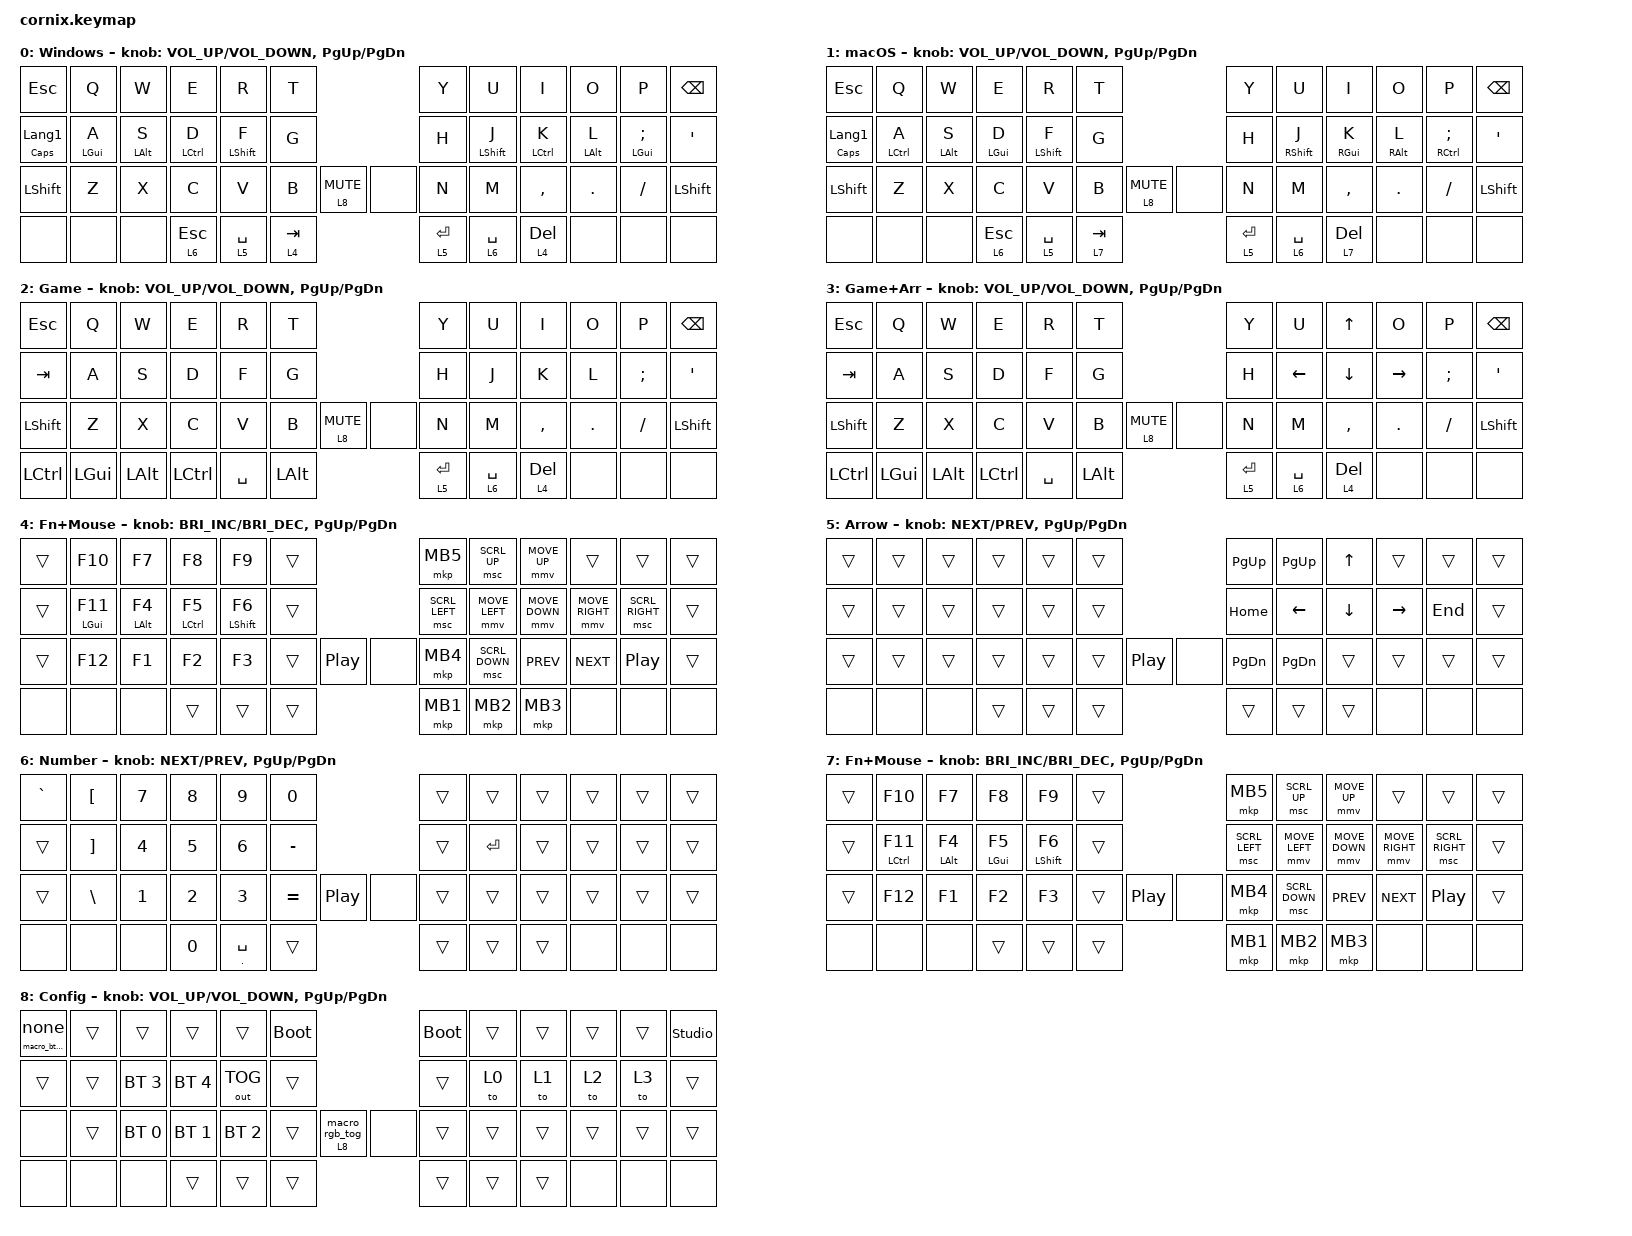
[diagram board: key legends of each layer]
#define ZMK_POINTING_DEFAULT_MOVE_VAL 1800
#define ZMK_POINTING_DEFAULT_SCRL_VAL 30

#include <zephyr/dt-bindings/input/input-event-codes.h>
#include <behaviors.dtsi>
#include <dt-bindings/zmk/bt.h>
#include <dt-bindings/zmk/keys.h>
#include <dt-bindings/zmk/outputs.h>
#include <dt-bindings/zmk/pointing.h>

/ {
    behaviors {
        caps_fn: caps_fn {
            compatible = "zmk,behavior-hold-tap";
            bindings = <&kp>, <&kp>;

            #binding-cells = <2>;
            tapping-term-ms = <600>;
            flavor = "tap-preferred";
        };

        homerow: homerow {
            compatible = "zmk,behavior-hold-tap";
            bindings = <&kp>, <&kp>;

            #binding-cells = <2>;
            tapping-term-ms = <200>;
            flavor = "tap-preferred";
            quick-tap-ms = <300>;
        };

        space_period: space_period {
            compatible = "zmk,behavior-hold-tap";
            bindings = <&kp>, <&kp>;

            #binding-cells = <2>;
            flavor = "tap-preferred";
            tapping-term-ms = <200>;
        };

        thumb: thumb {
            compatible = "zmk,behavior-hold-tap";
            bindings = <&mo>, <&kp>;

            #binding-cells = <2>;
            tapping-term-ms = <200>;
            flavor = "balanced";
            quick-tap-ms = <150>;
        };

        sft: sft {
            compatible = "zmk,behavior-hold-tap";
            bindings = <&kp>, <&sk>;

            #binding-cells = <2>;
            tapping-term-ms = <200>;
        };

        long_bt_clr: long_bt_clr {
            compatible = "zmk,behavior-hold-tap";
            bindings = <&macro_bt_clr>, <&none>;

            #binding-cells = <2>;
            tapping-term-ms = <1000>;
        };

        tog_conf: tog_conf {
            compatible = "zmk,behavior-hold-tap";
            bindings = <&tog>, <&kp>;

            #binding-cells = <2>;
            tapping-term-ms = <500>;
        };

        tog_conf2: tog_conf2 {
            compatible = "zmk,behavior-hold-tap";
            bindings = <&tog>, <&macro_rgb_tog>;

            #binding-cells = <2>;
            tapping-term-ms = <500>;
        };
    };

    combos {
        compatible = "zmk,combos";

        cut_M {
            bindings = <&kp LG(X)>;
            key-positions = <25 26>;
            timeout-ms = <100>;
            layers = <1>;
        };

        copy_M {
            bindings = <&kp LG(C)>;
            key-positions = <26 27>;
            layers = <1>;
            timeout-ms = <100>;
        };

        paste_M {
            bindings = <&kp LG(V)>;
            key-positions = <27 28>;
            timeout-ms = <100>;
            layers = <1>;
        };

        cut_W {
            bindings = <&kp LC(X)>;
            key-positions = <25 26>;
            timeout-ms = <100>;
            layers = <0>;
        };

        copy_W {
            bindings = <&kp LC(C)>;
            key-positions = <26 27>;
            layers = <0>;
            timeout-ms = <100>;
        };

        paste_W {
            bindings = <&kp LC(V)>;
            key-positions = <27 28>;
            timeout-ms = <100>;
            layers = <0>;
        };
    };

    macros {
        macro_bt_clr: macro_bt_clr {
            compatible = "zmk,behavior-macro";
            #binding-cells = <0>;
            bindings = <&bt BT_CLR>;
        };

        /* Cornix uses its stock indicator implementation, not Corne underglow. */

        macro_rgb_tog: macro_rgb_tog {
            compatible = "zmk,behavior-macro";
            #binding-cells = <0>;
            bindings = <&none>;
        };
    };

    keymap {
        compatible = "zmk,keymap";

        windows_layer {
            display-name = "Windows";
            bindings = <
&kp ESCAPE                    &kp Q                &kp W                &kp E                    &kp R                  &kp T                                    &kp Y           &kp U                  &kp I                    &kp O                &kp P                        &kp BSPC
&caps_fn CAPSLOCK LANGUAGE_1  &homerow LEFT_GUI A  &homerow LEFT_ALT S  &homerow LEFT_CONTROL D  &homerow LEFT_SHIFT F  &kp G                                    &kp H           &homerow LEFT_SHIFT J  &homerow LEFT_CONTROL K  &homerow LEFT_ALT L  &homerow LEFT_GUI SEMICOLON  &kp SQT
&kp LSHIFT                    &kp Z                &kp X                &kp C                    &kp V                  &kp B         &tog_conf 8 C_MUTE  &none  &kp N           &kp M                  &kp COMMA                &kp DOT              &kp FSLH                     &kp LSHIFT
&none                         &none                &none                &thumb 6 ESCAPE          &thumb 5 SPACE         &thumb 4 TAB                             &thumb 5 ENTER  &thumb 6 SPACE         &thumb 4 DELETE          &none                &none                        &none
            >;

            sensor-bindings = <&inc_dec_kp C_VOLUME_UP C_VOLUME_DOWN &inc_dec_kp PG_UP PG_DN>;
        };

        macos_layer {
            display-name = "macOS";
            bindings = <
&kp ESCAPE                    &kp Q                    &kp W                &kp E                &kp R                  &kp T                                    &kp Y           &kp U                   &kp I                 &kp O                 &kp P                             &kp BSPC
&caps_fn CAPSLOCK LANGUAGE_1  &homerow LEFT_CONTROL A  &homerow LEFT_ALT S  &homerow LEFT_GUI D  &homerow LEFT_SHIFT F  &kp G                                    &kp H           &homerow RIGHT_SHIFT J  &homerow RIGHT_GUI K  &homerow RIGHT_ALT L  &homerow RIGHT_CONTROL SEMICOLON  &kp SQT
&kp LSHIFT                    &kp Z                    &kp X                &kp C                &kp V                  &kp B         &tog_conf 8 C_MUTE  &none  &kp N           &kp M                   &kp COMMA             &kp DOT               &kp FSLH                          &kp LSHIFT
&none                         &none                    &none                &thumb 6 ESCAPE      &thumb 5 SPACE         &thumb 7 TAB                             &thumb 5 ENTER  &thumb 6 SPACE          &thumb 7 DEL          &none                 &none                             &none
            >;

            sensor-bindings = <&inc_dec_kp C_VOLUME_UP C_VOLUME_DOWN &inc_dec_kp PG_UP PG_DN>;
        };

        gaming_layer {
            display-name = "Game";
            bindings = <
&kp ESCAPE  &kp Q     &kp W     &kp E      &kp R      &kp T                                &kp Y           &kp U           &kp I            &kp O    &kp P          &kp BSPC
&kp TAB     &kp A     &kp S     &kp D      &kp F      &kp G                                &kp H           &kp J           &kp K            &kp L    &kp SEMICOLON  &kp SQT
&kp LSHIFT  &kp Z     &kp X     &kp C      &kp V      &kp B     &tog_conf 8 C_MUTE  &none  &kp N           &kp M           &kp COMMA        &kp DOT  &kp FSLH       &kp LSHIFT
&kp LCTRL   &kp LGUI  &kp LALT  &kp LCTRL  &kp SPACE  &kp LALT                             &thumb 5 ENTER  &thumb 6 SPACE  &thumb 4 DELETE  &none    &none          &none
            >;

            sensor-bindings = <&inc_dec_kp C_VOLUME_UP C_VOLUME_DOWN &inc_dec_kp PG_UP PG_DN>;
        };

        gaming_layer2 {
            display-name = "Game+Arr";
            bindings = <
&kp ESCAPE  &kp Q     &kp W     &kp E      &kp R      &kp T                                &kp Y           &kp U           &kp UP           &kp O      &kp P          &kp BSPC
&kp TAB     &kp A     &kp S     &kp D      &kp F      &kp G                                &kp H           &kp LEFT        &kp DOWN         &kp RIGHT  &kp SEMICOLON  &kp SQT
&kp LSHIFT  &kp Z     &kp X     &kp C      &kp V      &kp B     &tog_conf 8 C_MUTE  &none  &kp N           &kp M           &kp COMMA        &kp DOT    &kp FSLH       &kp LSHIFT
&kp LCTRL   &kp LGUI  &kp LALT  &kp LCTRL  &kp SPACE  &kp LALT                             &thumb 5 ENTER  &thumb 6 SPACE  &thumb 4 DELETE  &none      &none          &none
            >;

            sensor-bindings = <&inc_dec_kp C_VOLUME_UP C_VOLUME_DOWN &inc_dec_kp PG_UP PG_DN>;
        };

        fn_ms_layer {
            display-name = "Fn+Mouse";
            bindings = <
&trans  &kp F10                &kp F7                &kp F8                    &kp F9                  &trans                   &mkp MB5        &msc SCRL_UP    &mmv MOVE_UP    &trans           &trans           &trans
&trans  &homerow LEFT_GUI F11  &homerow LEFT_ALT F4  &homerow LEFT_CONTROL F5  &homerow LEFT_SHIFT F6  &trans                   &msc SCRL_LEFT  &mmv MOVE_LEFT  &mmv MOVE_DOWN  &mmv MOVE_RIGHT  &msc SCRL_RIGHT  &trans
&trans  &kp F12                &kp F1                &kp F2                    &kp F3                  &trans  &kp C_PP  &none  &mkp MB4        &msc SCRL_DOWN  &kp C_PREV      &kp C_NEXT       &kp C_PP         &trans
&none   &none                  &none                 &trans                    &trans                  &trans                   &mkp MB1        &mkp MB2        &mkp MB3        &none            &none            &none
            >;

            sensor-bindings = <&inc_dec_kp C_BRIGHTNESS_INC C_BRIGHTNESS_DEC &inc_dec_kp PG_UP PG_DN>;
        };

        arrow_layer {
            display-name = "Arrow";
            bindings = <
&trans  &trans  &trans  &trans  &trans  &trans                   &kp PG_UP  &kp PG_UP  &kp UP    &trans     &trans   &trans
&trans  &trans  &trans  &trans  &trans  &trans                   &kp HOME   &kp LEFT   &kp DOWN  &kp RIGHT  &kp END  &trans
&trans  &trans  &trans  &trans  &trans  &trans  &kp C_PP  &none  &kp PG_DN  &kp PG_DN  &trans    &trans     &trans   &trans
&none   &none   &none   &trans  &trans  &trans                   &trans     &trans     &trans    &none      &none    &none
            >;

            sensor-bindings = <&inc_dec_kp C_NEXT C_PREV &inc_dec_kp PG_UP PG_DN>;
        };

        num_layer {
            display-name = "Number";
            bindings = <
&kp GRAVE  &kp LBKT  &kp N7  &kp N8  &kp N9                   &kp N0                      &trans  &trans     &trans  &trans  &trans  &trans
&trans     &kp RBKT  &kp N4  &kp N5  &kp N6                   &kp MINUS                   &trans  &kp ENTER  &trans  &trans  &trans  &trans
&trans     &kp BSLH  &kp N1  &kp N2  &kp N3                   &kp EQUAL  &kp C_PP  &none  &trans  &trans     &trans  &trans  &trans  &trans
&none      &none     &none   &kp N0  &space_period DOT SPACE  &trans                      &trans  &trans     &trans  &none   &none   &none
            >;

            sensor-bindings = <&inc_dec_kp C_NEXT C_PREV &inc_dec_kp PG_UP PG_DN>;
        };

        fn_ms_mac_layer {
            display-name = "Fn+Mouse";
            bindings = <
&trans  &kp F10                    &kp F7                &kp F8                &kp F9                  &trans                   &mkp MB5        &msc SCRL_UP    &mmv MOVE_UP    &trans           &trans           &trans
&trans  &homerow LEFT_CONTROL F11  &homerow LEFT_ALT F4  &homerow LEFT_GUI F5  &homerow LEFT_SHIFT F6  &trans                   &msc SCRL_LEFT  &mmv MOVE_LEFT  &mmv MOVE_DOWN  &mmv MOVE_RIGHT  &msc SCRL_RIGHT  &trans
&trans  &kp F12                    &kp F1                &kp F2                &kp F3                  &trans  &kp C_PP  &none  &mkp MB4        &msc SCRL_DOWN  &kp C_PREV      &kp C_NEXT       &kp C_PP         &trans
&none   &none                      &none                 &trans                &trans                  &trans                   &mkp MB1        &mkp MB2        &mkp MB3        &none            &none            &none
            >;

            sensor-bindings = <&inc_dec_kp C_BRIGHTNESS_INC C_BRIGHTNESS_DEC &inc_dec_kp PG_UP PG_DN>;
        };

        conf_layer {
            display-name = "Config";
            bindings = <
&long_bt_clr 0 0  &trans  &trans        &trans        &trans        &bootloader                         &bootloader  &trans  &trans  &trans  &trans  &studio_unlock
&trans            &trans  &bt BT_SEL 3  &bt BT_SEL 4  &out OUT_TOG  &trans                              &trans       &to 0   &to 1   &to 2   &to 3   &trans
&none             &trans  &bt BT_SEL 0  &bt BT_SEL 1  &bt BT_SEL 2  &trans       &tog_conf2 8 0  &none  &trans       &trans  &trans  &trans  &trans  &trans
&none             &none   &none         &trans        &trans        &trans                              &trans       &trans  &trans  &none   &none   &none
            >;

            sensor-bindings = <&inc_dec_kp C_VOLUME_UP C_VOLUME_DOWN &inc_dec_kp PG_UP PG_DN>;
        };
    };
};
